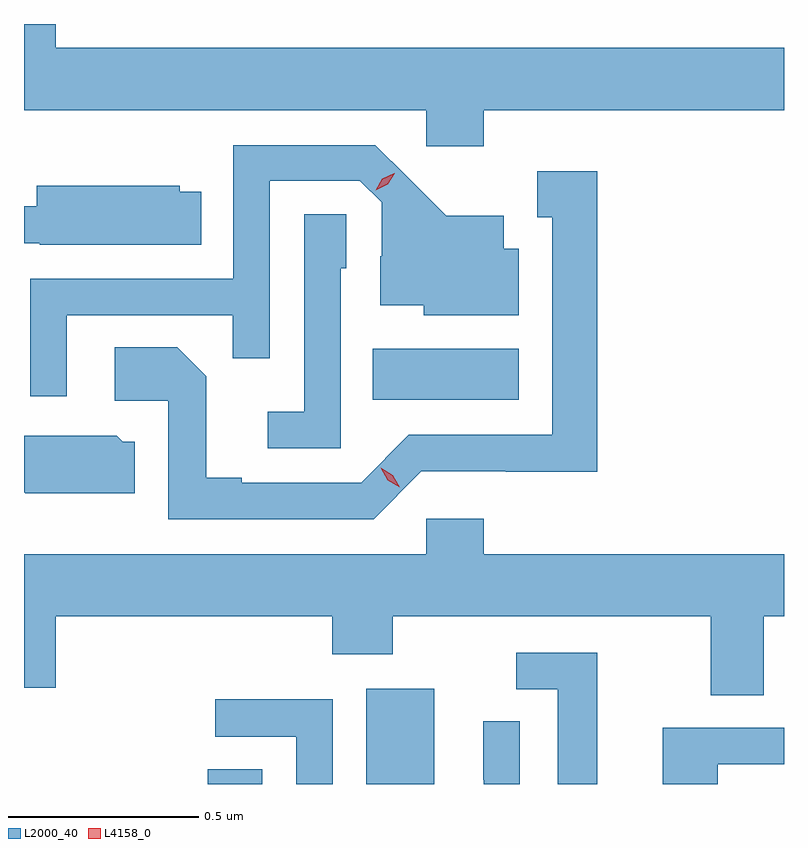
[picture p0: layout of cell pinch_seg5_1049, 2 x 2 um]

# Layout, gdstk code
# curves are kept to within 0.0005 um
import gdstk
lib = gdstk.Library(unit=1e-6, precision=1e-09)
def R(c, l, rs):  # rectangles x0, y0, x1, y1
    for r in rs: c.add(gdstk.rectangle(r[:2], r[2:], *l))
def P(c, l, *ps):  # polygons
    for p in ps: c.add(gdstk.Polygon(p, *l))
L2000_40 = (2000, 40)
L4158_0 = (4158, 0)

pinch_seg5_1049 = lib.new_cell('pinch_seg5_1049')
R(pinch_seg5_1049, L2000_40, [(717.02,845.663,717.163,845.702), (717.437,845.663,717.616,845.914), (717.454,846.674,717.838,846.808)])
P(pinch_seg5_1049, L2000_40, [(717.746,847.436),(718.536,847.436),(718.536,847.6),(716.62,847.6),(716.62,847.663),(716.536,847.663),(716.536,847.436),(717.594,847.436),(717.594,847.341),(717.746,847.341)],
  [(716.649,846.897),(717.085,846.897),(717.085,846.784),(717.183,846.784),(717.183,847.251),(717.42,847.251),(717.477,847.194),(717.477,847.052),(717.473,847.052),(717.473,846.923),(717.588,846.923),(717.588,846.896),(717.838,846.896),(717.838,847.072),(717.799,847.072),(717.799,847.159),(717.647,847.159),(717.46,847.344),(717.087,847.344),(717.087,846.993),(716.553,846.993),(716.553,846.684),(716.649,846.684)],
  [(717.582,846.486),(717.804,846.486),(717.804,846.485),(718.045,846.485),(718.045,847.276),(717.887,847.276),(717.887,847.155),(717.926,847.155),(717.926,846.582),(717.549,846.582),(717.423,846.456),(717.109,846.456),(717.109,846.469),(717.015,846.469),(717.015,846.736),(716.939,846.812),(716.775,846.812),(716.775,846.672),(716.916,846.672),(716.916,846.36),(717.456,846.36)],
  [(717.002,847.222),(716.946,847.222),(716.946,847.237),(716.57,847.237),(716.57,847.183),(716.536,847.183),(716.536,847.086),(716.578,847.086),(716.578,847.082),(717.002,847.082)],
  [(717.369,847.02),(717.384,847.02),(717.384,847.163),(717.273,847.163),(717.273,846.643),(717.177,846.643),(717.177,846.546),(717.369,846.546)],
  [(716.827,846.564),(716.796,846.564),(716.78,846.58),(716.646,846.58),(716.646,846.579),(716.536,846.579),(716.536,846.431),(716.539,846.428),(716.827,846.428)],
  [(718.483,846.104),(718.536,846.104),(718.536,846.268),(717.746,846.268),(717.746,846.361),(717.594,846.361),(717.594,846.268),(716.536,846.268),(716.536,845.916),(716.62,845.916),(716.62,846.104),(717.347,846.104),(717.347,846.005),(717.507,846.005),(717.507,846.104),(718.343,846.104),(718.343,845.896),(718.483,845.896)],
  [(718.045,846.009),(717.831,846.009),(717.831,845.913),(717.941,845.913),(717.941,845.663),(718.045,845.663)],
  [(717.348,845.886),(717.039,845.886),(717.039,845.787),(717.252,845.787),(717.252,845.663),(717.348,845.663)],
  [(717.84,845.828),(717.744,845.828),(717.744,845.674),(717.746,845.674),(717.746,845.663),(717.84,845.663)],
  [(718.362,845.715),(718.536,845.715),(718.536,845.811),(718.217,845.811),(718.217,845.663),(718.362,845.663)])
P(pinch_seg5_1049, L4158_0, [(717.461,847.226),(717.461,847.226),(717.479,847.256),(717.51,847.27),(717.511,847.27),(717.511,847.27),(717.493,847.241),(717.462,847.226)],
  [(717.525,846.444),(717.493,846.462),(717.475,846.495),(717.475,846.495),(717.475,846.495),(717.507,846.476),(717.525,846.444),(717.525,846.444)])

lib.write_gds('pinch_seg5_1049.gds')
